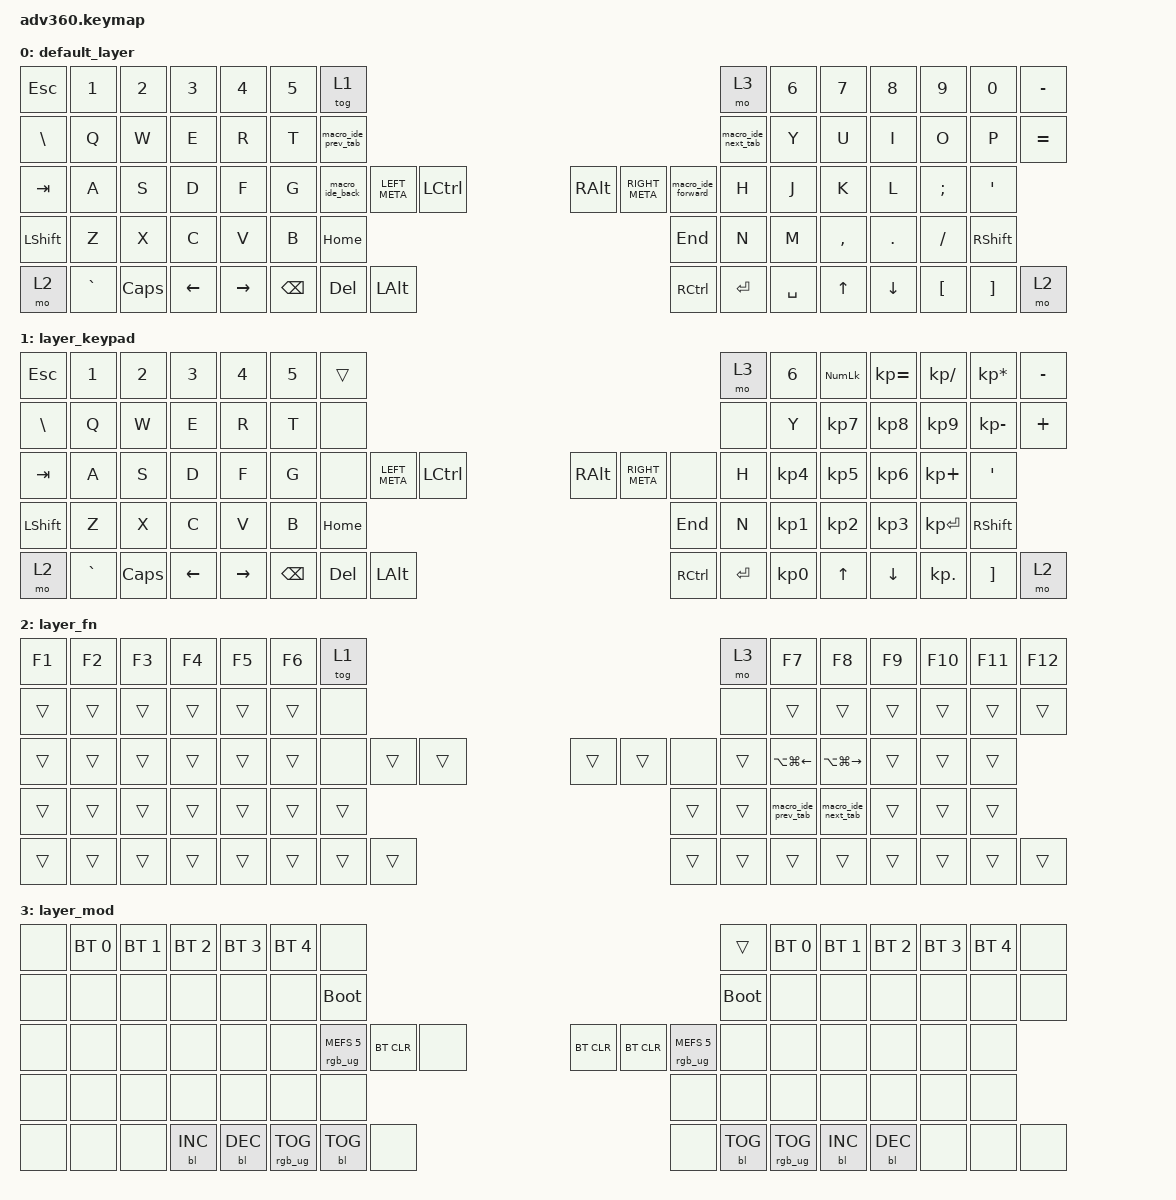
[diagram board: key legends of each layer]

/*
 * Copyright (c) 2020 The ZMK Contributors
 *
 * SPDX-License-Identifier: MIT
 */


/* THIS FILE WAS GENERATED!
 *
 * This file was generated automatically. You may or may not want to
 * edit it directly.
 */

#include <behaviors.dtsi>
#include <dt-bindings/zmk/keys.h>
#include <dt-bindings/zmk/bt.h>
#include <dt-bindings/zmk/rgb.h>
#include <dt-bindings/zmk/backlight.h>

/ {
  behaviors {
    #include "macros.dtsi"
    #include "version.dtsi"

    hm: homerow_mods {
        compatible = "zmk,behavior-hold-tap";
        label = "HOMEROW_MODS";
        #binding-cells = <2>;
        tapping-term-ms = <200>;
        quick_tap_ms = <175>;
        flavor = "tap-preferred";
        bindings = <&kp>, <&kp>;
    };
  };

    keymap {
        compatible = "zmk,keymap";


        default_layer {
            bindings = <
       &kp ESC     &kp N1    &kp N2    &kp N3     &kp N4  &kp N5                         &tog 1                                                                                             &mo 3  &kp N6  &kp N7     &kp N8    &kp N9    &kp N0  &kp MINUS
 &kp BACKSLASH      &kp Q     &kp W     &kp E      &kp R   &kp T            &macro_ide_prev_tab                                                                               &macro_ide_next_tab   &kp Y   &kp U      &kp I     &kp O     &kp P  &kp EQUAL
       &kp TAB      &kp A     &kp S     &kp D      &kp F   &kp G                &macro_ide_back  &kp LEFT_META  &kp LCTRL                      &kp RIGHT_ALT  &kp RIGHT_META   &macro_ide_forward   &kp H   &kp J      &kp K     &kp L  &kp SEMI    &kp SQT
     &kp LSHFT      &kp Z     &kp X     &kp C      &kp V   &kp B                                                 &kp HOME                            &kp END                                        &kp N   &kp M  &kp COMMA   &kp DOT  &kp FSLH  &kp RSHFT
         &mo 2  &kp GRAVE  &kp CAPS  &kp LEFT  &kp RIGHT                               &kp BSPC        &kp DEL   &kp LALT                  &kp RIGHT_CONTROL       &kp ENTER            &kp SPACE          &kp UP   &kp DOWN  &kp LBKT  &kp RBKT      &mo 2
            >;
        };

        layer_keypad {
            bindings = <
       &kp ESC     &kp N1    &kp N2    &kp N3     &kp N4  &kp N5              &trans                                                                                   &mo 3  &kp N6  &kp KP_NUM  &kp KP_EQUAL  &kp KP_DIVIDE  &kp KP_MULTIPLY  &kp MINUS
 &kp BACKSLASH      &kp Q     &kp W     &kp E      &kp R   &kp T               &none                                                                                   &none   &kp Y   &kp KP_N7     &kp KP_N8      &kp KP_N9     &kp KP_MINUS   &kp PLUS
       &kp TAB      &kp A     &kp S     &kp D      &kp F   &kp G               &none  &kp LEFT_META  &kp LCTRL                      &kp RIGHT_ALT  &kp RIGHT_META      &none   &kp H   &kp KP_N4     &kp KP_N5      &kp KP_N6      &kp KP_PLUS    &kp SQT
     &kp LSHFT      &kp Z     &kp X     &kp C      &kp V   &kp B                                      &kp HOME                            &kp END                              &kp N   &kp KP_N1     &kp KP_N2      &kp KP_N3     &kp KP_ENTER  &kp RSHFT
         &mo 2  &kp GRAVE  &kp CAPS  &kp LEFT  &kp RIGHT                    &kp BSPC        &kp DEL   &kp LALT                  &kp RIGHT_CONTROL       &kp ENTER  &kp KP_N0              &kp UP      &kp DOWN     &kp KP_DOT         &kp RBKT      &mo 2
            >;
        };

        layer_fn {
            bindings = <
 &kp F1  &kp F2  &kp F3  &kp F4  &kp F5  &kp F6            &tog 1                                                   &mo 3  &kp F7               &kp F8               &kp F9  &kp F10  &kp F11  &kp F12
 &trans  &trans  &trans  &trans  &trans  &trans             &none                                                   &none  &trans               &trans               &trans   &trans   &trans   &trans
 &trans  &trans  &trans  &trans  &trans  &trans             &none  &trans  &trans                  &trans  &trans   &none  &trans     &kp LA(LG(LEFT))    &kp LA(LG(RIGHT))   &trans   &trans   &trans
 &trans  &trans  &trans  &trans  &trans  &trans                            &trans                  &trans                  &trans  &macro_ide_prev_tab  &macro_ide_next_tab   &trans   &trans   &trans
 &trans  &trans  &trans  &trans  &trans                    &trans  &trans  &trans                  &trans  &trans  &trans                       &trans               &trans   &trans   &trans   &trans
            >;
        };

        layer_mod {
            bindings = <
  &none  &bt BT_SEL 0  &bt BT_SEL 1  &bt BT_SEL 2  &bt BT_SEL 3  &bt BT_SEL 4                             &none                                                                              &trans  &bt BT_SEL 0  &bt BT_SEL 1  &bt BT_SEL 2  &bt BT_SEL 3  &bt BT_SEL 4   &none
  &none         &none         &none         &none         &none         &none                       &bootloader                                                                         &bootloader         &none         &none         &none         &none         &none   &none
  &none         &none         &none         &none         &none         &none            &rgb_ug RGB_MEFS_CMD 5  &bt BT_CLR   &none                  &bt BT_CLR  &bt BT_CLR  &rgb_ug RGB_MEFS_CMD 5         &none         &none         &none         &none         &none   &none
  &none         &none         &none         &none         &none         &none                                                 &none                       &none                                             &none         &none         &none         &none         &none   &none
  &none         &none         &none    &bl BL_INC    &bl BL_DEC                                 &rgb_ug RGB_TOG  &bl BL_TOG   &none                       &none  &bl BL_TOG         &rgb_ug RGB_TOG                  &bl BL_INC    &bl BL_DEC         &none         &none   &none
            >;
        };

    };
};
